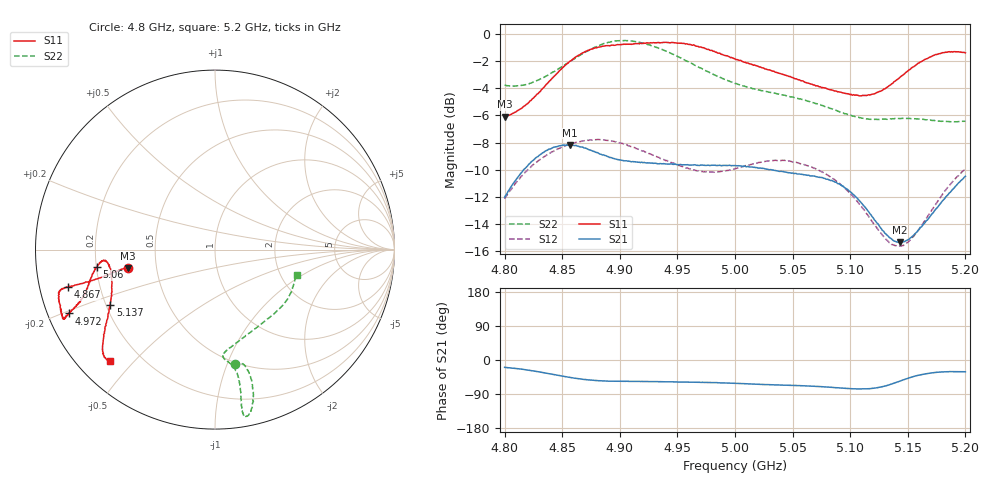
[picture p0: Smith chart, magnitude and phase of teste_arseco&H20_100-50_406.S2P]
! Network Analyzer HP8722D
! Hewlett-Packard
! Data name: Linha & Wilkinson
! Saver's name: Rodrigo Anjos
! Comments: Teste da utilização de aquisição
! continua pelo VNA HP8722D
! Time and date: 6/5/2025 15:57
!  Frequency  S11  S21  S12  S22
# HZ  S  MA R 50
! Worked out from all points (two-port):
!   401 points, 4.8 GHz to 5.2 GHz, reference 50 ohm
!   highest |S21| = -8.16 dB at 4.857 GHz (marker M1); lowest = -15.3 dB at 5.143 GHz (marker M2)
!   |S21| within 3 dB of the highest: 4.806 GHz to 5.093 GHz (286.4 MHz wide, 5.79 % of centre); 5.19201 GHz to end of sweep
!   lowest |S11| = -6.1 dB at 4.8 GHz (marker M3), VSWR 2.97, Z = 17 - j4.62 ohm
!   |S11| at or under -10 dB: nowhere
!   |S22| runs from -6.5 to -0.5 dB; largest |S21 - S12| = 0.62
!   S11 on the Smith chart (normalised r, x): 4.8 GHz: 0.34, -0.09; 4.867 GHz: 0.08, -0.13; 4.972 GHz: 0.06, -0.21; 5.06 GHz: 0.20, -0.07; 5.137 GHz: 0.22, -0.24; 5.2 GHz: 0.10, -0.43
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4.8e9  0.4963 -168.1  0.2512 -19.4  0.2477 -140.7  0.6477 -80.3
4.829e9  0.6029 -166.8  0.354 -30.9  0.3411 -144.8  0.6759 -75.2
4.857e9  0.7951 -165.7  0.3909 -46.0  0.3934 -150.0  0.7926 -74.7
4.867e9  0.8476 -165.6  0.3838 -50.6  0.4034 -151.8  0.8426 -75.3
4.88e9  0.8894 -165.2  0.3662 -54.4  0.4086 -153.9  0.8987 -76.6
4.899e9  0.9126 -162.7  0.3448 -56.3  0.399 -156.5  0.943 -78.9
4.934e9  0.9293 -156.2  0.3326 -57.3  0.3515 -155.5  0.8843 -80.4
4.953e9  0.9239 -155.4  0.331 -58.0  0.3262 -151.9  0.8161 -79.7
4.972e9  0.8892 -156.4  0.3293 -58.9  0.3117 -146.1  0.7416 -79.6
5e9  0.8094 -158.7  0.328 -61.7  0.3199 -137.1  0.6574 -81.2
5.035e9  0.7231 -165.2  0.3147 -65.7  0.343 -134.2  0.6049 -85.6
5.06e9  0.6665 -171.6  0.3033 -68.0  0.3307 -135.9  0.5708 -84.2
5.067e9  0.6526 -172.9  0.3006 -69.0  0.3233 -136.5  0.559 -82.5
5.087e9  0.6165 -174.5  0.2849 -73.0  0.2897 -138.3  0.5251 -74.9
5.103e9  0.5979 -171.3  0.2563 -76.0  0.2509 -138.5  0.4983 -65.2
5.116e9  0.5973 -165.4  0.222 -75.7  0.2133 -135.5  0.486 -55.9
5.134e9  0.6457 -154.2  0.1784 -65.4  0.1706 -120.9  0.4872 -43.4
5.137e9  0.6585 -152.3  0.1745 -62.4  0.1679 -117.0  0.4878 -41.5
5.143e9  0.691 -149.2  0.1712 -55.9  0.166 -109.1  0.4879 -38.0
5.154e9  0.754 -144.5  0.1802 -44.5  0.1786 -95.1  0.488 -32.4
5.173e9  0.8352 -138.7  0.2231 -33.2  0.2327 -80.7  0.4808 -24.1
5.2e9  0.8514 -133.5  0.2995 -31.2  0.3187 -76.7  0.4783 -17.5
